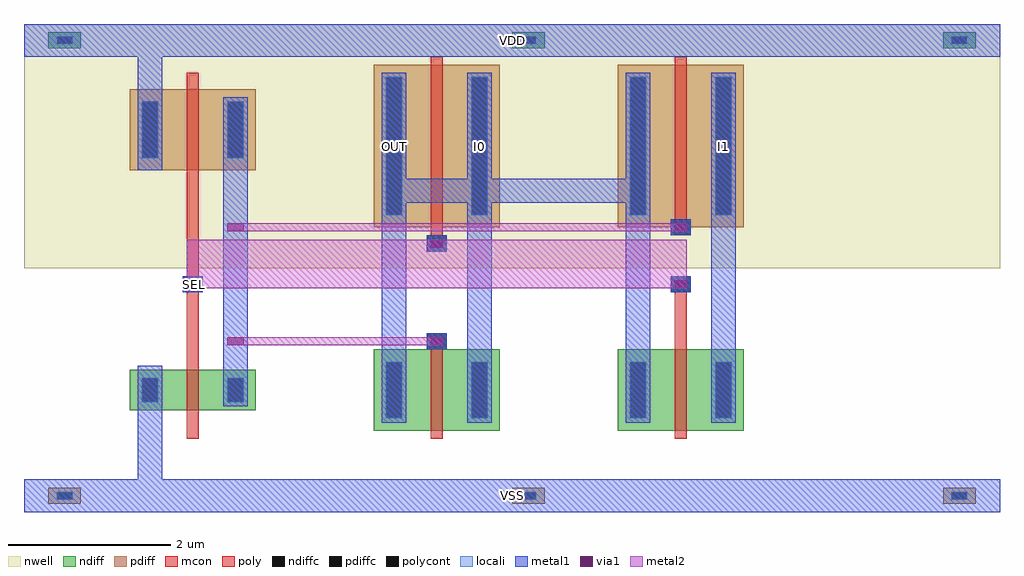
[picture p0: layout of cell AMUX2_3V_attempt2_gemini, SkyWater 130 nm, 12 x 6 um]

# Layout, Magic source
magic
tech sky130A
<< nwell >>
rect 0 300 1200 600
<< ndiff >>
rect 30 570 70 590
rect 600 570 640 590
rect 1130 570 1170 590
rect 130 125 285 175
rect 430 100 585 200
rect 730 100 885 200
<< pdiff >>
rect 30 10 70 30
rect 600 10 640 30
rect 1130 10 1170 30
rect 130 420 285 520
rect 430 350 585 550
rect 730 350 885 550
<< poly >>
rect 200 90 215 540
rect 500 90 515 220
rect 500 320 515 560
rect 800 90 815 290
rect 800 340 815 560
<< ndiffc >>
rect 40 575 60 585
rect 610 575 630 585
rect 1140 575 1160 585
rect 145 135 165 165
rect 250 135 270 165
rect 445 115 465 185
rect 550 115 570 185
rect 745 115 765 185
rect 850 115 870 185
<< pdiffc >>
rect 40 15 60 25
rect 610 15 630 25
rect 1140 15 1160 25
rect 145 435 165 505
rect 250 435 270 505
rect 445 365 465 535
rect 550 365 570 535
rect 745 365 765 535
rect 850 365 870 535
<< polycont >>
rect 195 270 220 290
rect 495 200 520 220
rect 495 320 520 340
rect 795 270 820 290
rect 795 340 820 360
<< locali >>
rect 40 575 60 585
rect 610 575 630 585
rect 1140 575 1160 585
rect 145 135 165 165
rect 250 135 270 165
rect 445 115 465 185
rect 550 115 570 185
rect 745 115 765 185
rect 850 115 870 185
rect 40 15 60 25
rect 610 15 630 25
rect 1140 15 1160 25
rect 145 435 165 505
rect 250 435 270 505
rect 445 365 465 535
rect 550 365 570 535
rect 745 365 765 535
rect 850 365 870 535
rect 195 270 220 290
rect 495 200 520 220
rect 495 320 520 340
rect 795 270 820 290
rect 795 340 820 360
<< mcon >>
rect 40 575 60 585
rect 610 575 630 585
rect 1140 575 1160 585
rect 145 135 165 165
rect 250 135 270 165
rect 445 115 465 185
rect 550 115 570 185
rect 745 115 765 185
rect 850 115 870 185
rect 40 15 60 25
rect 610 15 630 25
rect 1140 15 1160 25
rect 145 435 165 505
rect 250 435 270 505
rect 445 365 465 535
rect 550 365 570 535
rect 745 365 765 535
rect 850 365 870 535
rect 195 270 220 290
rect 495 200 520 220
rect 495 320 520 340
rect 795 270 820 290
rect 795 340 820 360
<< via1 >>
rect 200 275 215 285
rect 500 325 515 335
rect 800 275 815 285
rect 250 205 270 215
rect 500 205 515 215
rect 250 345 270 355
rect 800 345 815 355
<< metal1 >>
rect 0 0 1200 40
rect 0 560 1200 600
rect 140 10 170 180
rect 140 420 170 590
rect 245 130 275 510
rect 440 110 470 540
rect 545 110 575 540
rect 740 110 770 540
rect 845 110 875 540
rect 440 380 770 410
rect 195 270 220 290
rect 495 320 520 340
rect 795 270 820 290
rect 495 200 520 220
rect 795 340 820 360
<< metal2 >>
rect 200 275 815 335
rect 250 205 515 215
rect 250 345 815 355
<< labels >>
flabel metal1 s 560 450 560 450 0 FreeSans 120 0 0 0 I0
port 1 nsew signal input
flabel metal1 s 860 450 860 450 0 FreeSans 120 0 0 0 I1
port 2 nsew signal input
flabel metal1 s 210 280 210 280 0 FreeSans 120 0 0 0 SEL
port 3 nsew signal input
flabel metal1 s 455 450 455 450 0 FreeSans 120 0 0 0 OUT
port 4 nsew signal output
flabel metal1 s 600 580 600 580 0 FreeSans 120 0 0 0 VDD
port 5 nsew power bidirectional
flabel metal1 s 600 20 600 20 0 FreeSans 120 0 0 0 VSS
port 6 nsew ground bidirectional
<< properties >>
string LEFclass CORE
string LEFsite unithddbl
string LEForigin 0 0
string FIXED_BBOX 0 0 1200 600
<< end >>
